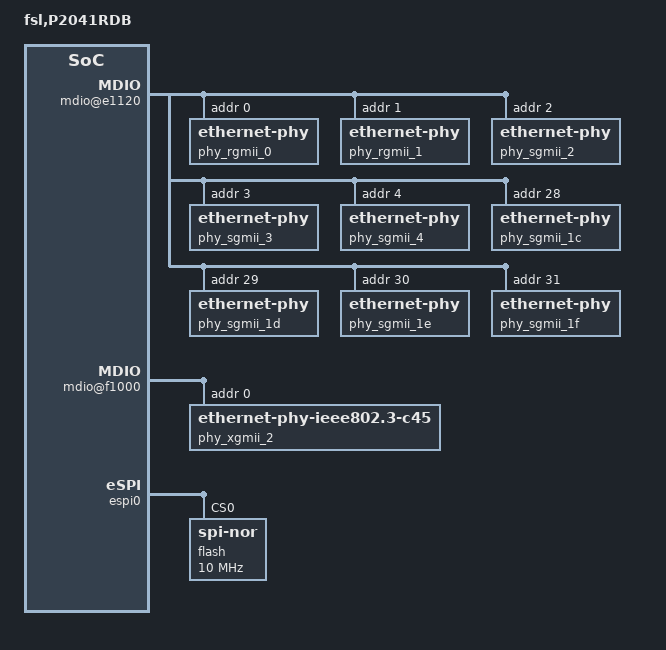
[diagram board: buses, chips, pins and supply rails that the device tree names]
// SPDX-License-Identifier: GPL-2.0+ OR X11
/*
 * P2041RDB Device Tree Source
 *
 * Copyright 2011 - 2015 Freescale Semiconductor Inc.
 * Copyright 2019-2020 NXP
 */

/include/ "p2041.dtsi"

/ {
	model = "fsl,P2041RDB";
	compatible = "fsl,P2041RDB";
	#address-cells = <2>;
	#size-cells = <2>;
	interrupt-parent = <&mpic>;

	aliases {
		phy_rgmii_0 = &phy_rgmii_0;
		phy_rgmii_1 = &phy_rgmii_1;
		phy_sgmii_2 = &phy_sgmii_2;
		phy_sgmii_3 = &phy_sgmii_3;
		phy_sgmii_4 = &phy_sgmii_4;
		phy_sgmii_1c = &phy_sgmii_1c;
		phy_sgmii_1d = &phy_sgmii_1d;
		phy_sgmii_1e = &phy_sgmii_1e;
		phy_sgmii_1f = &phy_sgmii_1f;
		phy_xgmii_2 = &phy_xgmii_2;
		spi0 = &espi0;
	};

	soc: soc@ffe000000 {
		ranges = <0x00000000 0xf 0xfe000000 0x1000000>;
		reg = <0xf 0xfe000000 0 0x00001000>;

		fman@400000 {
			ethernet@e0000 {
				phy-handle = <&phy_sgmii_2>;
				phy-connection-type = "sgmii";
			};

			mdio@e1120 {
				phy_rgmii_0: ethernet-phy@0 {
					reg = <0x0>;
				};

				phy_rgmii_1: ethernet-phy@1 {
					reg = <0x1>;
				};

				phy_sgmii_2: ethernet-phy@2 {
					reg = <0x2>;
				};

				phy_sgmii_3: ethernet-phy@3 {
					reg = <0x3>;
				};

				phy_sgmii_4: ethernet-phy@4 {
					reg = <0x4>;
				};

				phy_sgmii_1c: ethernet-phy@1c {
					reg = <0x1c>;
				};

				phy_sgmii_1d: ethernet-phy@1d {
					reg = <0x1d>;
				};

				phy_sgmii_1e: ethernet-phy@1e {
					reg = <0x1e>;
				};

				phy_sgmii_1f: ethernet-phy@1f {
					reg = <0x1f>;
				};
			};

			ethernet@e2000 {
				phy-handle = <&phy_sgmii_3>;
				phy-connection-type = "sgmii";
			};

			ethernet@e4000 {
				phy-handle = <&phy_sgmii_4>;
				phy-connection-type = "sgmii";
			};

			ethernet@e6000 {
				phy-handle = <&phy_rgmii_1>;
				phy-connection-type = "rgmii";
			};

			ethernet@e8000 {
				phy-handle = <&phy_rgmii_0>;
				phy-connection-type = "rgmii";
			};

			ethernet@f0000 {
				phy-handle = <&phy_xgmii_2>;
				phy-connection-type = "xgmii";
			};

			mdio@f1000 {
				phy_xgmii_2: ethernet-phy@0 {
					compatible = "ethernet-phy-ieee802.3-c45";
					reg = <0x0>;
				};
			};
		};
	};
};

&espi0 {
	status = "okay";
	flash@0 {
		compatible = "jedec,spi-nor";
		#address-cells = <1>;
		#size-cells = <1>;
		reg = <0>;
		/* input clock */
		spi-max-frequency = <10000000>;
	};
};

/include/ "p2041si-post.dtsi"
